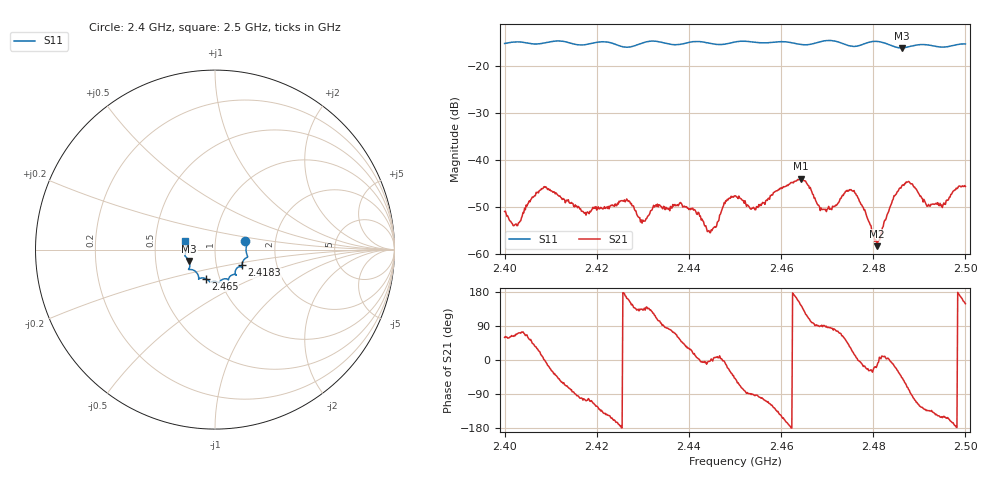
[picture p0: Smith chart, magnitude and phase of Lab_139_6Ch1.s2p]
# Hz S RI R 50
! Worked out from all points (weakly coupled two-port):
!   601 points, 2.4 GHz to 2.5 GHz, reference 50 ohm
!   highest |S21| = -44.01 dB at 2.4643 GHz (marker M1); lowest = -58.4 dB at 2.4808 GHz (marker M2)
!   lowest |S11| = -16.1 dB at 2.4862 GHz (marker M3), VSWR 1.37, Z = 37.2 - j4.82 ohm
!   |S11| at or under -10 dB: start of sweep to end of sweep
!   S12 and S22 are empty: the file has one direction only
!   S11 on the Smith chart (normalised r, x): 2.4 GHz: 1.40, +0.14; 2.4183 GHz: 1.33, -0.24; 2.465 GHz: 0.86, -0.28; 2.5 GHz: 0.71, +0.07
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2.4e9  0.1687 0.0471  0.00143 0.00244  0 0  0 0
2.402667e9  0.1788 0.0348  0.000731 0.00185  0 0  0 0
2.408667e9  0.1761 -0.0233  0.0052 3.8e-06  0 0  0 0
2.416667e9  0.1546 -0.068  -0.000502 -0.0028  0 0  0 0
2.418333e9  0.1501 -0.0867  -0.000648 -0.00259  0 0  0 0
2.4265e9  0.1216 -0.1039  -0.00366 0.00115  0 0  0 0
2.43e9  0.1138 -0.1368  -0.00152 0.00171  0 0  0 0
2.433333e9  0.1173 -0.1409  -0.000751 0.00307  0 0  0 0
2.441e9  0.0753 -0.1671  0.00281 0.000788  0 0  0 0
2.4445e9  0.0656 -0.1633  0.00168 -0.000107  0 0  0 0
2.45e9  0.026 -0.1799  0.00275 -0.00311  0 0  0 0
2.454e9  0.0145 -0.1807  -5.39e-05 -0.00312  0 0  0 0
2.464333e9  -0.0458 -0.1646  -0.0051 0.0037  0 0  0 0
2.465e9  -0.0525 -0.1614  -0.00384 0.00461  0 0  0 0
2.466667e9  -0.0711 -0.1576  -0.000686 0.00454  0 0  0 0
2.469333e9  -0.09 -0.1636  -5.94e-05 0.00298  0 0  0 0
2.475667e9  -0.1067 -0.1232  0.00436 0.00155  0 0  0 0
2.480833e9  -0.1476 -0.1104  0.00117 -0.000295  0 0  0 0
2.483333e9  -0.141 -0.0967  0.0028 0.000163  0 0  0 0
2.486167e9  -0.1438 -0.0633  0.00362 -0.00379  0 0  0 0
2.492e9  -0.1662 -0.0282  -0.00231 -0.00243  0 0  0 0
2.5e9  -0.1666 0.047  -0.00445 0.00272  0 0  0 0
